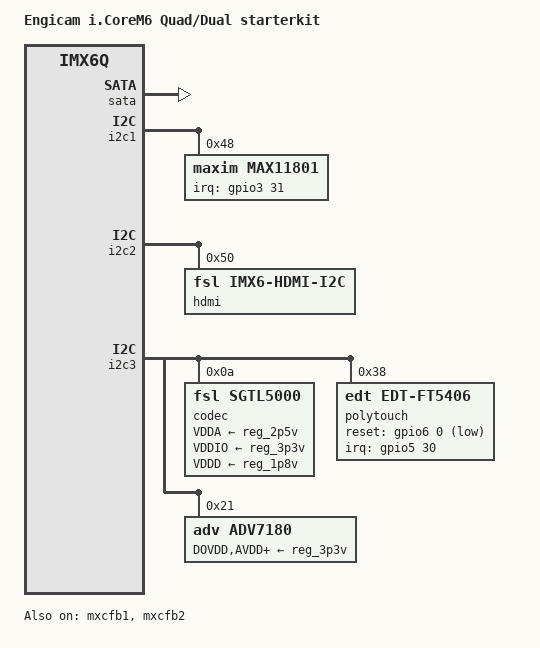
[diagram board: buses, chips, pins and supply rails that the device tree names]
/*
 * Copyright (C) 2013 Freescale Semiconductor, Inc.
 *
 * This program is free software; you can redistribute it and/or modify
 * it under the terms of the GNU General Public License version 2 as
 * published by the Free Software Foundation.
 */

/dts-v1/;

#include "imx6q.dtsi"
#include "imx6qdl-icore.dtsi"

/ {
	model = "Engicam i.CoreM6 Quad/Dual starterkit";
	compatible = "fsl,imx6-icore", "fsl,imx6q";
};

&ldb {
	ipu_id = <0>;
	sec_ipu_id = <0>;
};

&mxcfb1 {
	status = "okay";
};

&mxcfb2 {
	status = "okay";
};

/* To be enabled for PCI peripheral.
   Please enable also the PCI support kernel options:
   CONFIG_PCI and PCI_IMX6
&pcie {
	status = "okay";
};
*/

&sata {
	status = "okay";
};

&i2c1 {

	max11801@48 {
		compatible = "maxim,max11801";
		reg = <0x48>;
		interrupt-parent = <&gpio3>;
		interrupts = <31 2>;
		work-mode = <0>;/*DCM mode*/
	};

};

&i2c2 {

	hdmi: edid@50 {
		compatible = "fsl,imx6-hdmi-i2c";
		reg = <0x50>;
	};
};


&i2c3 {

	codec: sgtl5000@0a {
		compatible = "fsl,sgtl5000";
		reg = <0x0a>;
		clocks = <&clks 201>;
		VDDA-supply = <&reg_2p5v>;
		VDDIO-supply = <&reg_3p3v>;
		VDDD-supply = <&reg_1p8v>;
	};

	polytouch: edt-ft5x06@38 {
		compatible = "edt,edt-ft5406";
		reg = <0x38>;
		pinctrl-0 = <&pinctrl_edt_ft5x06>;
		interrupt-parent = <&gpio5>;
		interrupts = <30 0>;	
		reset-gpios = <&gpio6 0 1>;
	};

	adv7180: adv7180@21 {
		compatible = "adv,adv7180";
		reg = <0x21>;
		pinctrl-names = "default";
		pinctrl-0 = <&pinctrl_ipu1_6>;
		clocks = <&clks 201>;
		clock-names = "csi_mclk";
		DOVDD-supply = <&reg_3p3v>; /* 3.3v, enabled via 2.8 VGEN6 */
		AVDD-supply = <&reg_3p3v>;  /* 1.8v */
		DVDD-supply = <&reg_3p3v>;  /* 1.8v */
		PVDD-supply = <&reg_3p3v>;  /* 1.8v */
		csi_id = <0>;
		mclk = <24000000>;
		mclk_source = <0>;
		cvbs = <1>;
	};
	
};

&iomuxc {
	touchpanel{
		pinctrl_edt_ft5x06:  edt-ft5x06grp  {
			fsl,pins = <
				MX6QDL_PAD_CSI0_DAT12__GPIO5_IO30 0x1b0b0 /*interrupt*/ 
				MX6QDL_PAD_CSI0_DAT14__GPIO6_IO00 0x1b0b0 /*reset edt*/
			>;
		};
	};
};

&iomuxc {
	pinctrl-names = "default";
	pinctrl-0 = <&pinctrl_hog>;

	hog {
		pinctrl_hog: hoggrp {
			fsl,pins = <
				MX6QDL_PAD_GPIO_2__GPIO1_IO02 0x1f059
				MX6QDL_PAD_EIM_D19__GPIO3_IO19 0x1f059 /* not used pin for ADV7180 driver compatibility */
			>;
		};
	};
};

